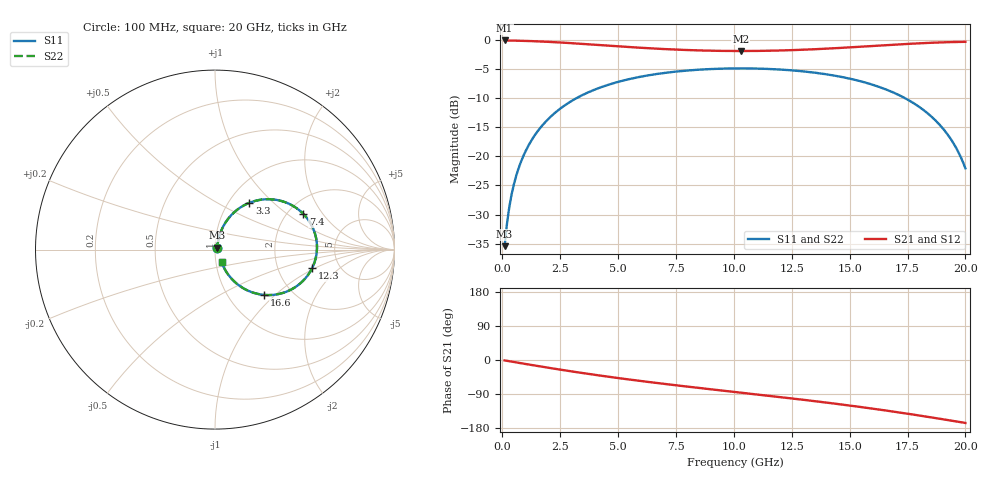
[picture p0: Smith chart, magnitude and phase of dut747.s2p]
! Touchstone file exported from HFSS 2026.1.0
!  File:  C:/ffzhzh/LocalFiles/Ansys_Project_Files/temp_train_TSV_RDL_747_1783205664_22436.aedt
!  Generated:  07:04:09 AM Jul  5, 2026
!  Design:  TSV_RDL
!  Project:  temp_train_TSV_RDL_747_1783205664_22436
! Variables:
!  h_bsmrdl = 5.13um
!  h_ox = 20um
!  h_rdl = 5um
!  h_sub = 88.67um
!  h_tmrdl = 4.12um
!  h_tsv = 88.67um
!  h_via = 3um
!  l_bsmrdl = 492.58um
!  l_sub = 2669.97um
!  l_tmrdl = 172.22um
!  m_sub = 200um
!  pitch = 54.31um
!  r_tsv = 6.23um
!  s_tmrdl = 10um
!  w_bsmrdl = 23.64um
!  w_sub = 500um
!  w_tmrdl = 10.81um
!  x_tsv_center1 = 177.625um
!  x_tsv_center2 = 693.845um
!  x_tsv_center3 = 876.875um
!  x_tsv_center4 = 1393.095um
!  x_tsv_center5 = 1576.125um
!  x_tsv_center6 = 2092.345um
# GHz S MA R 50.000000
! Terminal data exported
! Port[1] = TM_RDL1_1_T1
! Port[2] = TM_RDL5_1_T1
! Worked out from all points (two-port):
!   200 points, 100 MHz to 20 GHz, reference 50 ohm
!   highest |S21| = -0.11 dB at 100 MHz (marker M1); lowest = -1.9 dB at 10.3 GHz (marker M2)
!   |S21| within 3 dB of the highest: start of sweep to end of sweep
!   lowest |S11| = -35.4 dB at 100 MHz (marker M3), VSWR 1.03, Z = 51.3 + j1.16 ohm
!   |S11| at or under -10 dB: start of sweep to 3.212 GHz; 17.38 GHz to end of sweep
!   |S22| runs from -35.4 to -4.9 dB; largest |S21 - S12| = 6.7e-13
!   S11 on the Smith chart (normalised r, x): 100 MHz: 1.03, +0.02; 3.3 GHz: 1.24, +0.72; 7.4 GHz: 2.42, +1.34; 12.3 GHz: 3.14, -0.94; 16.6 GHz: 1.46, -0.86; 20 GHz: 1.06, -0.15
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0.1  0.01693 41.8  0.9875 -1.1  0.9875 -1.1  0.01693 41.8
! Gamma 0 0 0 0
! Port Impedance 50 0 50 0
0.2  0.02618 58.7  0.987 -2.2  0.987 -2.2  0.02618 58.7
0.4  0.04691 69.0  0.9855 -4.3  0.9855 -4.3  0.04691 69.0
0.7  0.07856 72.1  0.9824 -7.4  0.9824 -7.4  0.07856 72.1
1  0.1101 71.8  0.9787 -10.5  0.9787 -10.5  0.1101 71.8
1.9  0.2008 65.7  0.9628 -19.6  0.9628 -19.6  0.2008 65.7
3.3  0.3232 53.7  0.9273 -32.9  0.9273 -32.9  0.3232 53.7
3.5  0.3385 52.0  0.9216 -34.7  0.9216 -34.7  0.3385 52.0
5  0.4353 39.7  0.8794 -47.6  0.8794 -47.6  0.4353 39.7
6.8  0.5132 26.2  0.8368 -61.6  0.8368 -61.6  0.5132 26.2
7.4  0.5311 22.0  0.8259 -66.0  0.8259 -66.0  0.5311 22.0
10.1  0.5684 3.8  0.8017 -84.8  0.8017 -84.8  0.5684 3.8
10.3  0.5686 2.5  0.8016 -86.2  0.8016 -86.2  0.5686 2.5
12.3  0.5508 -10.9  0.8131 -100.0  0.8131 -100.0  0.5507 -10.9
13.4  0.525 -18.5  0.8287 -107.9  0.8287 -107.9  0.525 -18.5
15.1  0.4597 -30.9  0.8635 -121.0  0.8635 -121.0  0.4597 -30.9
16.6  0.373 -42.6  0.9004 -133.6  0.9004 -133.6  0.373 -42.6
16.7  0.3662 -43.4  0.9029 -134.5  0.9029 -134.5  0.3662 -43.4
17.9  0.2745 -53.0  0.9312 -145.5  0.9312 -145.5  0.2745 -53.0
18.8  0.1948 -59.8  0.9482 -154.1  0.9482 -154.1  0.1948 -59.8
19.5  0.1279 -63.4  0.9575 -161.1  0.9575 -161.1  0.1279 -63.4
20  0.07886 -62.4  0.9615 -166.1  0.9615 -166.1  0.07883 -62.4
